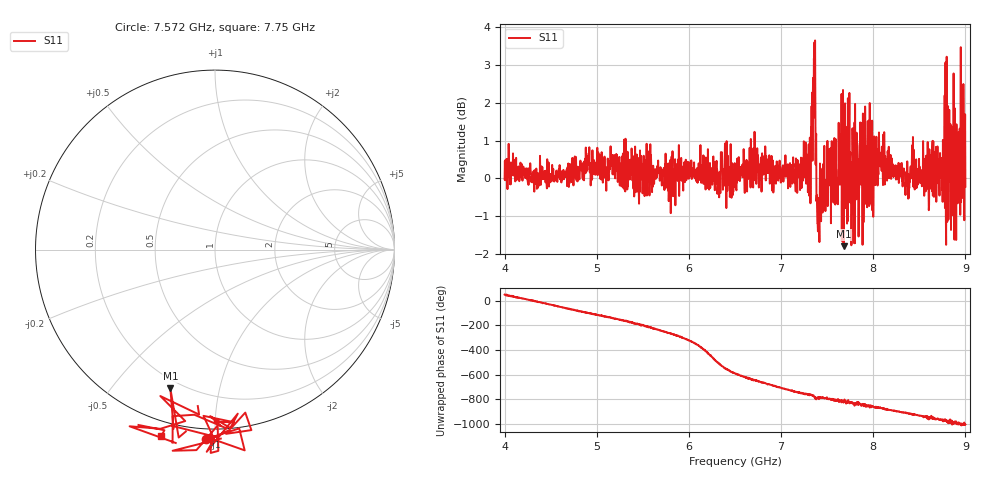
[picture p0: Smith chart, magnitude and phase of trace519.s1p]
! Created with skrf 1.8.0 (http://scikit-rf.org).
# Hz S RI R 50.0
!freq ReS11 ImS11
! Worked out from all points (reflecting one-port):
!   1601 points, 4 GHz to 9 GHz, reference 50 ohm
!   lowest |S11| = -1.8 dB at 7.678 GHz (marker M1), VSWR 9.68, Z = 7.87 - j35.9 ohm
!   phase of S11 starts at 48 deg and turns -1053 deg over the sweep
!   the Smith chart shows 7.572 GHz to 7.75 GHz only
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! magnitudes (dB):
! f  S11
! 4 GHz  0.0
! 4.625 GHz  0.0
! 5.25 GHz  -0.2
! 5.875 GHz  0.3
! 6.319 GHz  -0.2
! 6.378 GHz  0.2
! 6.5 GHz  -0.2
! 6.725 GHz  0.2
! 7.125 GHz  0.2
! 7.294 GHz  0.1
! 7.347 GHz  2.7
! 7.369 GHz  3.7
! 7.409 GHz  -0.5
! 7.512 GHz  0.2
! 7.591 GHz  1.0
! 7.647 GHz  0.3
! 7.678 GHz  -1.8
! 7.75 GHz  0.7
! 7.775 GHz  1.3
! 7.853 GHz  0.9
! 8.097 GHz  0.3
! 8.375 GHz  0.0
! 8.441 GHz  0.0
! 8.728 GHz  0.2
! 8.819 GHz  1.0
! 8.906 GHz  0.6
! 8.959 GHz  2.2
! 9 GHz  -0.2
